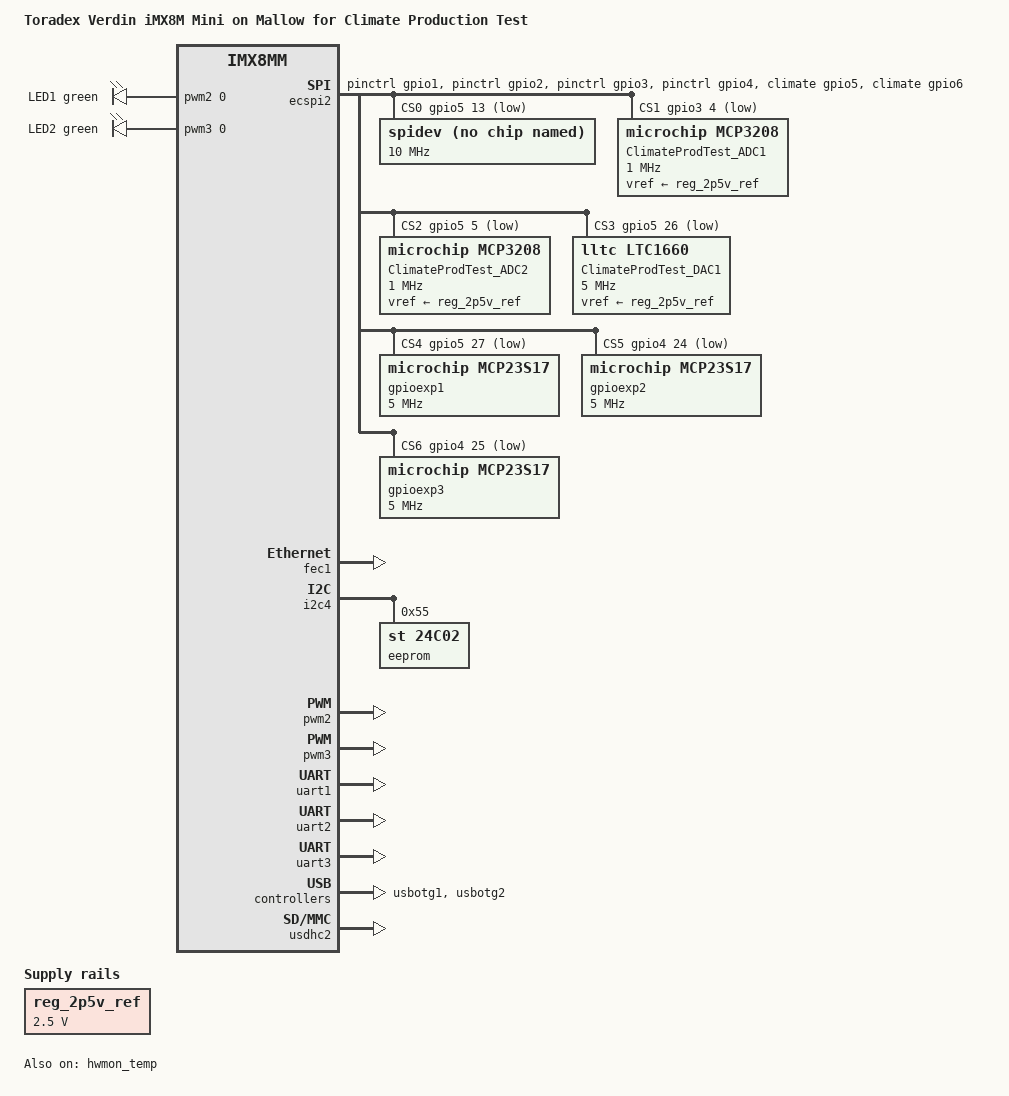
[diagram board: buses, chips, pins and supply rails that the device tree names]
// SPDX-License-Identifier: GPL-2.0-or-later OR MIT
/*
 * Copyright 2022 Toradex
 */

/dts-v1/;

#include <dt-bindings/leds/common.h>
#include "imx8mm-verdin.dtsi"

/ {
	model = "Toradex Verdin iMX8M Mini on Mallow for Climate Production Test";
	compatible = "toradex,verdin-imx8mm-nonwifi-dahlia",
		     "toradex,verdin-imx8mm-nonwifi",
		     "toradex,verdin-imx8mm",
		     "fsl,imx8mm";

	led-controller {
		compatible = "pwm-leds";

		led-1 {
			color = <LED_COLOR_ID_GREEN>;
			label = "LED1";
			pwms = <&pwm2 0 6666667 0>;
		};

		led-2 {
			color = <LED_COLOR_ID_GREEN>;
			label = "LED2";
			pwms = <&pwm3 0 6666667 0>;
		};
	};

	reg_2p5v_ref: regulator-2p5v {
		compatible = "regulator-fixed";
		regulator-max-microvolt = <2500000>;
		regulator-min-microvolt = <2500000>;
		regulator-name = "2.5V_REF";
	};
};

&ecspi2 {
	pinctrl-0 = <&pinctrl_ecspi2 &pinctrl_gpio1 &pinctrl_gpio2
		     &pinctrl_gpio3 &pinctrl_gpio4 &pinctrl_climate_gpio5
		     &pinctrl_climate_gpio6>;
	cs-gpios = <&gpio5 13 GPIO_ACTIVE_LOW>, <&gpio3 4 GPIO_ACTIVE_LOW>,
		   <&gpio5  5 GPIO_ACTIVE_LOW>, <&gpio5 26 GPIO_ACTIVE_LOW>,
		   <&gpio5 27 GPIO_ACTIVE_LOW>, <&gpio4 24 GPIO_ACTIVE_LOW>,
		   <&gpio4 25 GPIO_ACTIVE_LOW>;
	/* DMAs prevent more than 3 CS */
	dmas = "";
	dma_names = "";
	status = "okay";

	/*
	 * This is not needed but always defined, even if left away, so define
	 * it explicitly and leave it unused.
	 */
	spidev@0 {
		compatible = "rohm,dh2228fv";
		reg = <0>;
		spi-max-frequency = <10000000>;
	};

	adc@1 {
		compatible = "microchip,mcp3208";
		reg = <1>;
		label = "ClimateProdTest_ADC1";
		spi-max-frequency = <1000000>;
		vref-supply = <&reg_2p5v_ref>;
	};

	adc@2 {
		compatible = "microchip,mcp3208";
		reg = <2>;
		label = "ClimateProdTest_ADC2";
		spi-max-frequency = <1000000>;
		vref-supply = <&reg_2p5v_ref>;
	};

	dac@3 {
		compatible = "lltc,ltc1660";
		reg = <3>;
		label = "ClimateProdTest_DAC1";
		spi-max-frequency = <5000000>;
		vref-supply = <&reg_2p5v_ref>;
	};

	gpioexp1: gpio@4 {
		compatible = "microchip,mcp23s17";
		gpio-controller;
		#gpio-cells = <2>;
		microchip,spi-present-mask = <0x02>;
		reg = <4>;
		spi-max-frequency = <5000000>;
		gpio-line-names = "Reserved_X14_0",
				  "Reserved_X14_1",
				  "Reserved_X16_2",
				  "Reserved_X16_3",
				  "Reserved_X17",
				  "Reserved_X18",
				  "Reserved_X19",
				  "Reserved_X20",
				  "Fan2_Tacho_Out",
				  "Fan4_Tacho_Out",
				  "Fan3_Tacho_Out",
				  "Fan1_Tacho_Out",
				  "Reserved_X23",
				  "Reserved_X24",
				  "Reserved_X25",
				  "_230V_ON";
	};

	gpioexp2: gpio@5 {
		compatible = "microchip,mcp23s17";
		gpio-controller;
		#gpio-cells = <2>;
		microchip,spi-present-mask = <0x10>;
		reg = <5>;
		spi-max-frequency = <5000000>;
		gpio-line-names = "Error_In",
				  "HeatValve_In",
				  "Reserved_X9_14",
				  "CoolValve_In",
				  "Reserved_X9_15",
				  "Reserved_X21",
				  "SKS_State",
				  "Start_Button",
				  "Detect1_Out",
				  "Detect1_In",
				  "Detect2_Out",
				  "Detect2_In",
				  "DUT_24V_X10_1",
				  "DUT_24V_X1_4",
				  "DUT_24V_X8_5",
				  "DUT_24V_X10_5";
	};

	gpioexp3: gpio@6 {
		compatible = "microchip,mcp23s17";
		gpio-controller;
		#gpio-cells = <2>;
		microchip,spi-present-mask = <0x04>;
		reg = <6>;
		spi-max-frequency = <5000000>;
		gpio-line-names = "DUT_GND_X8_4",
				  "DUT_GND_X7_9",
				  "DUT_GND_X10_8",
				  "DUT_GND_X7_8",
				  "DUT_GND_X10_4",
				  "DUT_GND_X7_4",
				  "DUT_GND_X12_12",
				  "DUT_GND_X7_3",
				  "DUT_GND_X12_4",
				  "DUT_GND_X8_8",
				  "DUT_GND_X12_6",
				  "DUT_GND_X1_6",
				  "DUT_GND_X12_10",
				  "DUT_24V_X12_7",
				  "DUT_24V_X12_1",
				  "DUT_24V_X8_1";
	};
};

&fec1 {
	status = "okay";
};

&hwmon_temp {
	status = "okay";
};

&i2c4 {
	status = "okay";

	eeprom@55 {
		compatible = "st,24c02";
		pagesize = <16>;
		reg = <0x55>;
	};
};

&iomuxc {
	pinctrl-names = "default";
	pinctrl-0 = <&pinctrl_gpio7>, <&pinctrl_gpio8>,
		    <&pinctrl_gpio_hog1>, <&pinctrl_gpio_hog2>, <&pinctrl_gpio_hog3>,
		    <&pinctrl_pmic_tpm_ena>;

	/* Climate GPIO 5 and 6 are not used at the moment */
	pinctrl_climate_gpio5: climategpio5grp {
		fsl,pins =
			<MX8MM_IOMUXC_SAI2_TXFS_GPIO4_IO24		0x106>;	/* SODIMM 32 */
	};

	pinctrl_climate_gpio6: climategpio6grp {
		fsl,pins =
			<MX8MM_IOMUXC_SAI2_TXC_GPIO4_IO25		0x106>;	/* SODIMM 30 */
	};
};

/* Verdin PWM_1 */
&pwm2 {
	status = "okay";
};

/* Verdin PWM_2 */
&pwm3 {
	status = "okay";
};

/* Verdin UART_3 */
&uart1 {
	status = "okay";
};

/* Verdin UART_1 */
&uart2 {
	status = "okay";
};

/* Verdin UART_2 */
&uart3 {
	status = "okay";
};

/* Verdin USB_1 */
&usbotg1 {
	disable-over-current;
	status = "okay";
};

/* Verdin USB_2 */
&usbotg2 {
	disable-over-current;
	status = "okay";
};

/* Verdin SD_1 */
&usdhc2 {
	status = "okay";
};
